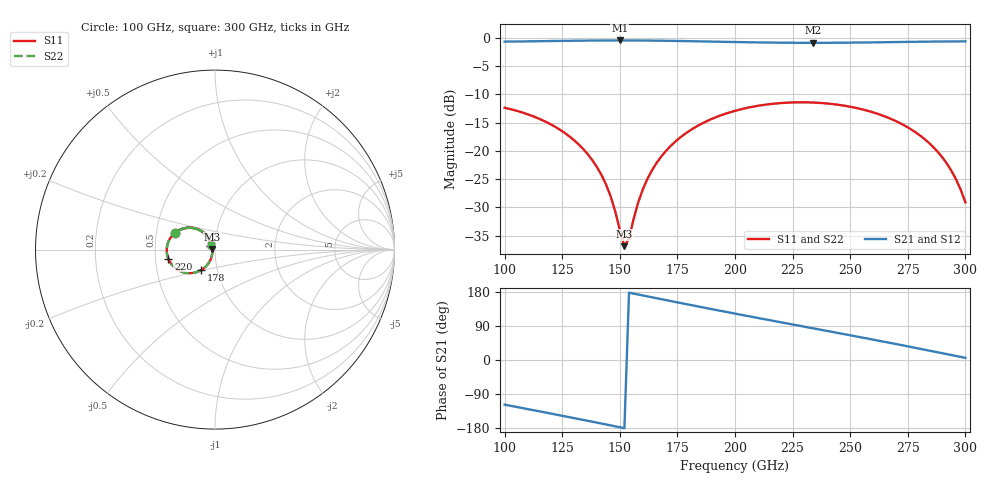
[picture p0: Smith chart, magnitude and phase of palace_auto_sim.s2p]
#  GHZ S DB R 50
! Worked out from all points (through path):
!   101 points, 100 GHz to 300 GHz, reference 50 ohm
!   highest |S21| = -0.46 dB at 150 GHz (marker M1); lowest = -0.9 dB at 234 GHz (marker M2)
!   group delay of S21, straight-line fit = 3.27 ps
!   lowest |S11| = -36.9 dB at 152 GHz (marker M3), VSWR 1.03, Z = 48.6 + j0.187 ohm
!   |S11| at or under -10 dB: start of sweep to end of sweep
!   |S22| runs from -36.6 to -11.4 dB; largest |S21 - S12| = 1.1e-14
!   S11 on the Smith chart (normalised r, x): 100 GHz: 0.63, +0.12; 178 GHz: 0.83, -0.20; 220 GHz: 0.58, -0.06; 300 GHz: 0.96, +0.05
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100  -12.37 157.4  -0.66 -118.0  -0.66 -118.0  -12.37 157.5
120  -15.30 135.5  -0.56 -141.2  -0.56 -141.2  -15.30 135.7
134  -19.63 121.9  -0.49 -158.0  -0.49 -158.0  -19.62 122.3
140  -22.82 118.2  -0.47 -165.3  -0.47 -165.3  -22.80 118.6
144  -25.94 118.3  -0.46 -170.1  -0.46 -170.1  -25.91 119.0
148  -30.69 126.1  -0.46 -175.0  -0.46 -175.0  -30.61 127.0
150  -34.01 139.9  -0.46 -177.5  -0.46 -177.5  -33.85 141.0
152  -36.88 172.3  -0.46 -179.9  -0.46 -179.9  -36.58 172.7
154  -35.52 -147.4  -0.46 177.6  -0.46 177.6  -35.31 -148.2
158  -29.11 -118.6  -0.47 172.7  -0.47 172.7  -29.06 -119.3
160  -26.80 -115.2  -0.47 170.3  -0.47 170.3  -26.77 -115.7
168  -21.01 -116.0  -0.51 160.5  -0.51 160.5  -21.00 -116.2
178  -17.08 -124.5  -0.57 148.4  -0.57 148.4  -17.08 -124.6
200  -12.92 -147.6  -0.74 122.4  -0.74 122.4  -12.92 -147.6
220  -11.54 -169.0  -0.85 99.4  -0.85 99.4  -11.54 -169.0
234  -11.45 176.0  -0.87 83.5  -0.87 83.5  -11.45 176.1
250  -12.19 158.9  -0.84 65.2  -0.84 65.2  -12.19 159.1
268  -14.40 140.0  -0.75 44.3  -0.75 44.3  -14.40 140.2
280  -17.19 128.3  -0.69 30.0  -0.69 30.0  -17.19 128.6
288  -20.17 122.1  -0.65 20.3  -0.65 20.3  -20.17 122.5
294  -23.58 120.3  -0.63 13.0  -0.63 13.0  -23.56 120.9
300  -29.11 128.9  -0.62 5.7  -0.62 5.7  -29.05 129.9
